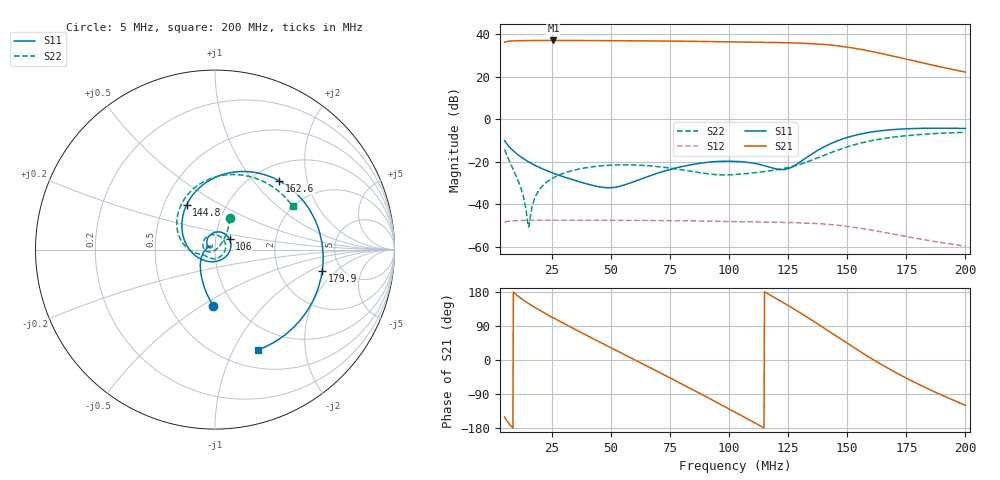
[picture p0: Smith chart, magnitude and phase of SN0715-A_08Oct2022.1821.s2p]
# Hz S DB R 50
! CMT, M5045, 22160017, 22.3.3/2
! Date: 10/8/2022 18:21:36
! Data: Format (Calibration Info)
! Freq	S11:dB/Ang(F2)	S21:dB/Ang(F2)	S12:dB/Ang(F2)	S22:dB/Ang(F2)
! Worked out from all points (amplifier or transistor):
!   1001 points, 5 MHz to 200 MHz, reference 50 ohm
!   highest |S21| = 37.1 dB at 25.67 MHz (marker M1)
!   |S21| within 3 dB of that: start of sweep to 149.2 MHz
!   unconditionally stable (mu >= 1): start of sweep to end of sweep
!   at 37.37 MHz: K = 1.81, MAG = 37.1 dB, |S12| = -47.6 dB
!   at 102.5 MHz: K = 2.04, MAG = 36.5 dB, |S12| = -48.2 dB
!   at 200 MHz: K = 18.23, MAG = 25.4 dB, |S12| = -59.8 dB
!   S11 on the Smith chart (normalised r, x): 5 MHz: 0.81, -0.56; 106 MHz: 1.17, +0.14; 144.8 MHz: 0.65, +0.35; 162.6 MHz: 1.29, +1.37; 179.9 MHz: 3.56, -1.36; 200 MHz: 0.71, -1.26
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5000000  -10.05 -91.6  36.32 -150.2  -48.47 -147.4  -14.29 64.6
7925000  -14.08 -109.8  36.88 -175.7  -47.84 -173.0  -21.86 50.0
1.202e7  -17.84 -129.6  37.05 162.1  -47.62 164.9  -32.87 33.9
1.865e7  -22.13 -156.5  37.11 135.6  -47.56 138.3  -35.02 -143.3
2.567e7  -25.43 -179.2  37.13 111.0  -47.54 114.5  -27.52 -163.9
3.7565e7  -29.76 153.8  37.09 72.0  -47.56 77.0  -23.20 164.6
5.453e7  -31.30 159.4  37.00 18.0  -47.61 25.3  -21.45 114.7
6.233e7  -28.31 157.3  36.94 -6.8  -47.65 1.7  -21.64 89.6
7.013e7  -25.26 144.9  36.88 -31.6  -47.69 -22.2  -22.32 62.7
7.8905e7  -22.55 123.8  36.80 -59.9  -47.78 -49.3  -23.61 29.1
8.651e7  -20.91 102.3  36.70 -84.6  -47.89 -73.0  -24.96 -4.0
9.431e7  -19.92 77.8  36.58 -110.2  -48.03 -97.6  -26.07 -42.2
1.025e8  -19.78 49.1  36.44 -137.4  -48.19 -123.7  -26.02 -83.7
1.0601e8  -20.04 35.3  36.38 -149.2  -48.25 -135.1  -25.74 -100.5
1.2005e8  -23.39 -48.0  36.16 161.9  -48.51 177.7  -23.79 -147.4
1.35065e8  -16.28 174.1  35.63 104.9  -48.99 122.3  -19.23 -169.8
1.44815e8  -10.61 122.5  34.75 65.3  -49.78 83.5  -14.99 170.3
1.53395e8  -7.51 83.9  33.40 30.4  -50.95 49.0  -11.89 146.8
1.6256e8  -5.62 47.1  31.44 -5.0  -52.65 14.1  -9.57 120.2
1.6763e8  -5.01 28.6  30.20 -23.2  -53.68 -4.0  -8.68 106.0
1.79915e8  -4.31 -11.4  27.07 -63.3  -56.19 -43.8  -7.24 74.1
2e8  -4.32 -66.8  22.23 -119.6  -59.76 -98.8  -6.11 29.2
